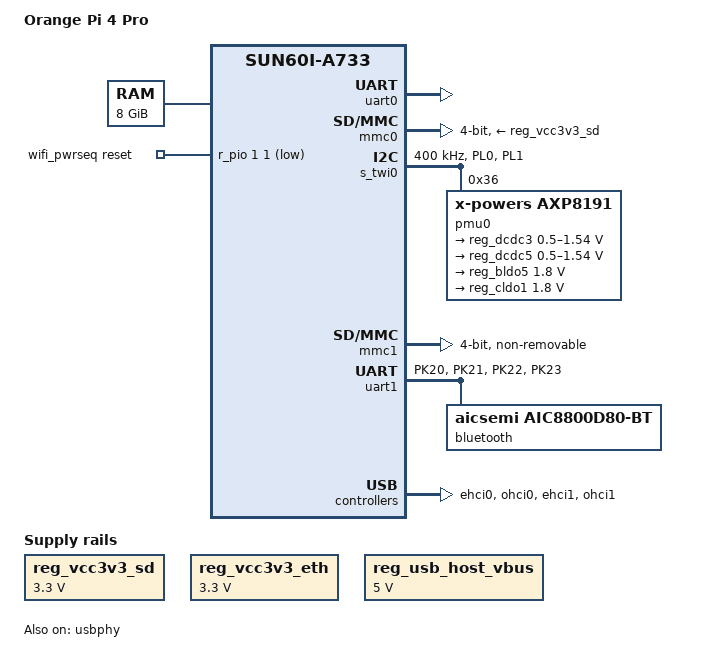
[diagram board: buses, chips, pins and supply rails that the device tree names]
// SPDX-License-Identifier: (GPL-2.0+ OR MIT)

/dts-v1/;

#include <dt-bindings/gpio/gpio.h>
#include "sun60i-a733.dtsi"
#include "sun60i-a733-cpu-opp.dtsi"

/ {
	model = "Orange Pi 4 Pro";
	compatible = "xunlong,orangepi-4-pro", "allwinner,sun60i-a733";

	aliases {
		serial0 = &uart0;
		ethernet0 = &gmac0;
		mmc0 = &mmc0;
		mmc1 = &mmc1;
	};

	chosen {
		stdout-path = "serial0:115200n8";
	};

	/*
	 * Orange Pi 4 Pro has 8GB LPDDR4.
	 * DRAM starts at 0x40000000 (1GB offset).
	 * U-Boot typically modifies this, but we hardcode
	 * to avoid panics when U-Boot's memory node is wrong.
	 */
	memory@40000000 {
		device_type = "memory";
		reg = <0x00000000 0x40000000 0x00000002 0x00000000>;
	};

	reg_vcc3v3_sd: regulator-vcc3v3-sd {
		compatible = "regulator-fixed";
		regulator-name = "vcc3v3-sd";
		regulator-min-microvolt = <3300000>;
		regulator-max-microvolt = <3300000>;
		regulator-always-on;
	};

	reg_vcc3v3_eth: regulator-vcc3v3-eth {
		compatible = "regulator-fixed";
		regulator-name = "vcc3v3-eth";
		regulator-min-microvolt = <3300000>;
		regulator-max-microvolt = <3300000>;
		regulator-always-on;
	};

	reg_usb_host_vbus: regulator-usb-host-vbus {
		compatible = "regulator-fixed";
		regulator-name = "usb-host-vbus";
		regulator-min-microvolt = <5000000>;
		regulator-max-microvolt = <5000000>;
		regulator-always-on;
	};

	/*
	 * Vendor: enable BLDO5/CLDO1 -> 10 ms -> assert WL_REG_ON (PM1 high) ->
	 * 50 ms -> sunxi_mmc_rescan. Mainline equivalent is mmc-pwrseq-simple:
	 * WL_REG_ON is an active-high enable, so model it as ACTIVE_LOW reset
	 * (deassert drives PM1 high). The rails are shared with Bluetooth and
	 * remain enabled, so the post-power-on delay is the vendor's exact 50 ms
	 * REG_ON-to-rescan interval. Power-off waits 100 ms before redetection.
	 */
	wifi_pwrseq: pwrseq {
		compatible = "mmc-pwrseq-simple";
		reset-gpios = <&r_pio 1 1 GPIO_ACTIVE_LOW>; /* PM1 WL_REG_ON */
		post-power-on-delay-ms = <50>;
		power-off-delay-us = <100000>;
	};
};

&pio {
	/*
	 * PF (SD card) stays on the fixed 3.3 V board rail. PG (Wi-Fi SDIO)
	 * uses AXP BLDO5 @ 1.8 V. With SUNXI_PINCTRL_AUTO_POWER_SWITCH the
	 * pinctrl driver never claims vcc-pg or writes PIO_POW_MOD (vendor
	 * auto_hard); BLDO5 must stay always-on to keep the rail up, and
	 * POW_MOD @ 0x340 is left to the bootloader/hardware auto path.
	 * Do not put BLDO5 on the whole PIO block without a PF override —
	 * that deferred the controller when AXP was missing.
	 */
	vcc-pf-supply = <&reg_vcc3v3_sd>;
	vcc-pg-supply = <&reg_bldo5>;

	uart1_pins: uart1-pins {
		pins = "PK20", "PK21", "PK22", "PK23";
		allwinner,pinmux = <8>;
		function = "uart1";
		drive-strength = <10>;
		bias-pull-up;
	};
};

&r_pio {
	/*
	 * Same rule as vcc-pg: do not defer r_pio on AXP CLDO1 or s_twi0/PMU
	 * can never come up (and console/wifi pwrseq stay stuck).
	 */
	/*
	 * vcc-pl-supply is deliberately not described: PL carries the I2C bus
	 * to the AXP8191 that would provide it, so naming it here would be a
	 * circular dependency.
	 */

	s_twi0_pins_default: s-twi0-default-pins {
		pins = "PL0", "PL1";
		function = "s_twi0";
		allwinner,pinmux = <2>;
		drive-strength = <10>;
		bias-pull-up;
	};

	s_twi0_pins_sleep: s-twi0-sleep-pins {
		pins = "PL0", "PL1";
		function = "io_disabled";
		allwinner,pinmux = <7>;
		drive-strength = <10>;
	};
};

&uart0 {
	status = "okay";
	/*
	 * Console UART: drop DMA. printk/earlycon use PIO and keep working;
	 * the tty write path uses 8250 DMA and was hanging forever here, so
	 * PID1 appeared dead after "Run /sbin/init" with no userspace output.
	 */
	/delete-property/ dmas;
	/delete-property/ dma-names;
};

&mmc0 {
	status = "okay";
	pinctrl-0 = <&mmc0_pins &mmc0_clk_pin>;
	pinctrl-names = "default";
	/*
	 * CD on PF6 has been unreliable in recent boots (kernel waits forever
	 * for root while the host reader sees the card fine). Poll instead.
	 */
	broken-cd;
	bus-width = <4>;
	cap-sd-highspeed;
	no-1-8-v;
	no-sdio;
	no-mmc;
	vmmc-supply = <&reg_vcc3v3_sd>;
	vqmmc-supply = <&reg_vcc3v3_sd>;
};

&s_twi0 {
	status = "okay";
	pinctrl-0 = <&s_twi0_pins_default>;
	pinctrl-1 = <&s_twi0_pins_sleep>;
	pinctrl-names = "default", "sleep";
	clock-frequency = <400000>;

	pmu0: pmu@36 {
		compatible = "x-powers,axp8191";
		reg = <0x36>;

		/*
		 * Only the rails this port actually needs are described.
		 * A rail declared without regulator-always-on is disabled by
		 * regulator_init_complete() once its use count reaches zero
		 * (regulator-boot-on does not prevent this), so every rail
		 * listed here is either always-on or has a permanent consumer.
		 * Undeclared rails keep the state the bootloader left them in.
		 */
		regulators {
			/*
			 * Do not declare dcdc1 here. Modern regulator OF sets
			 * apply_uV whenever min/max are present; a failed
			 * get_voltage (-ENXIO) then aborts the entire AXP
			 * regulator probe and BLDO5/CLDO1 never appear.
			 * Undeclared rails keep the bootloader voltage.
			 */

			/* Big-cluster CPU rail (A76). */
			reg_dcdc3: dcdc3 {
				regulator-name = "axp8191-dcdc3";
				regulator-min-microvolt = <500000>;
				regulator-max-microvolt = <1540000>;
				regulator-ramp-delay = <250>;
				regulator-enable-ramp-delay = <1000>;
				regulator-boot-on;
				regulator-always-on;
			};

			/* Little-cluster CPU rail (A55). */
			reg_dcdc5: dcdc5 {
				regulator-name = "axp8191-dcdc5";
				regulator-min-microvolt = <500000>;
				regulator-max-microvolt = <1540000>;
				regulator-ramp-delay = <250>;
				regulator-enable-ramp-delay = <1000>;
				regulator-boot-on;
				regulator-always-on;
			};

			/*
			 * PG pad supply for Wi-Fi SDIO @ 1.8 V. Vendor
			 * sunxi_wlan_set_power() forces 1800 mV then enables;
			 * keep always-on + fixed 1.8 V so pad auto_hard and
			 * the chip see a stable rail without rfkill.
			 */
			reg_bldo5: bldo5 {
				regulator-name = "axp8191-bldo5";
				regulator-min-microvolt = <1800000>;
				regulator-max-microvolt = <1800000>;
				regulator-boot-on;
				regulator-always-on;
			};

			/* PM pad supply for WL_REG_ON / WL_HOST_WAKE, 1.8 V. */
			reg_cldo1: cldo1 {
				regulator-name = "axp8191-cldo1";
				regulator-min-microvolt = <1800000>;
				regulator-max-microvolt = <1800000>;
				regulator-boot-on;
				regulator-always-on;
			};
		};
	};
};

&cpu0 {
	cpu-supply = <&reg_dcdc5>;
};

&cpu1 {
	cpu-supply = <&reg_dcdc5>;
};

&cpu2 {
	cpu-supply = <&reg_dcdc5>;
};

&cpu3 {
	cpu-supply = <&reg_dcdc5>;
};

&cpu4 {
	cpu-supply = <&reg_dcdc5>;
};

&cpu5 {
	cpu-supply = <&reg_dcdc5>;
};

&cpu6 {
	cpu-supply = <&reg_dcdc3>;
};

&cpu7 {
	cpu-supply = <&reg_dcdc3>;
};

/*
 * Wi-Fi SDIO on SMHC1. Vendor leaves the host in software-detect mode and
 * only rescans after aicbsp powers the chip; mainline runs that power+settle
 * sequence via wifi_pwrseq before the first CMD5. No vmmc/vqmmc (vendor
 * leaves them unwired; rails are always-on above). Stay at high-speed only
 * until CMD5 works; vendor UHS caps come later. No wifi@ child until the
 * SDIO card enumerates.
 */
&mmc1 {
	status = "okay";
	pinctrl-0 = <&mmc1_pins &mmc1_clk_pin>;
	pinctrl-names = "default";
	bus-width = <4>;
	non-removable;
	mmc-pwrseq = <&wifi_pwrseq>;
	no-mmc;
	no-sd;
	cap-sd-highspeed;
	cap-sdio-irq;
	keep-power-in-suspend;
	max-frequency = <50000000>;
};

&mmc2 {
	status = "disabled";
	pinctrl-0 = <&mmc2_pins>;
	pinctrl-names = "default";
	bus-width = <8>;
	non-removable;
	cap-mmc-highspeed;
	mmc-ddr-1_8v;
	mmc-hs200-1_8v;
	no-sdio;
	no-sd;
};

&uart1 {
	status = "okay";
	pinctrl-0 = <&uart1_pins>;
	pinctrl-names = "default";
	uart-has-rtscts;

	bluetooth {
		compatible = "aicsemi,aic8800d80-bt", "aicsemi,aic8800-bt";
		max-speed = <1500000>;
	};
};

/* Ethernet abandoned for now — gmac0 probe hangs boot
 * See docs/status.md and .tmp/ethernet-plan.md
&gmac0 {
	status = "okay";
};

&gmac0_phy0 {
	phy-supply = <&reg_vcc3v3_eth>;
};
 */

&usbphy {
	usb1_vbus-supply = <&reg_usb_host_vbus>;
	status = "okay";
};

&ehci0 {
	status = "okay";
};

&ohci0 {
	status = "okay";
};

&ehci1 {
	status = "okay";
};

&ohci1 {
	status = "okay";
};
